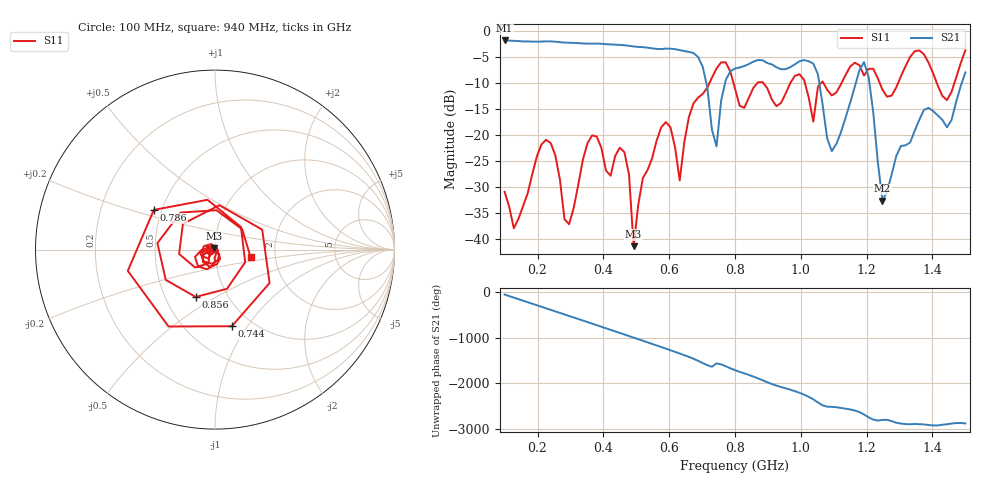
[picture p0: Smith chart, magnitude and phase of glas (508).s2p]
! NanoVNA-App
! Date: 2025-09-25 15:59:26
! Start: 100MHz Stop: 1,5GHz Points: 101
! S-Parameter data: F S11 S21 S12 S22
# Hz S RI R 50
!  Frequency  S11_Real  S11_Imag  S21_Real  S21_Imag  S12_Real  S12_Imag  S22_Real  S22_Imag
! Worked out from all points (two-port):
!   101 points, 100 MHz to 1.5 GHz, reference 50 ohm
!   highest |S21| = -1.80 dB at 100 MHz (marker M1); lowest = -32.6 dB at 1.248 GHz (marker M2)
!   |S21| within 3 dB of the highest: start of sweep to 684.4 MHz
!   lowest |S11| = -41.4 dB at 492 MHz (marker M3), VSWR 1.02, Z = 49.5 + j0.665 ohm
!   |S11| at or under -10 dB: start of sweep to 722.4 MHz; 795.5 MHz to 867.9 MHz (72.42 MHz wide, 8.71 % of centre); 886.1 MHz to 968 MHz (81.85 MHz wide, 8.83 % of centre) (the widest 3 of 7)
!   S12 and S22 are empty: the file has one direction only
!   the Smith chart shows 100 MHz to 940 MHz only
!   S11 on the Smith chart (normalised r, x): 100 MHz: 0.95, -0.01; 744 MHz: 0.81, -0.85; 786 MHz: 0.45, +0.24; 856 MHz: 0.71, -0.41; 940 MHz: 1.49, -0.14
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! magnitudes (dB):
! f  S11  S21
! 100 MHz  -30.9  -1.8
! 128 MHz  -38.0  -1.9
! 226 MHz  -20.9  -2.0
! 296 MHz  -37.2  -2.2
! 338 MHz  -24.7  -2.4
! 464 MHz  -23.3  -2.7
! 492 MHz  -41.4  -3.0
! 576 MHz  -18.5  -3.5
! 632 MHz  -28.7  -3.7
! 702 MHz  -12.1  -6.9
! 744 MHz  -7.2  -22.2
! 786 MHz  -7.8  -7.7
! 800 MHz  -11.0  -7.2
! 856 MHz  -10.9  -5.9
! 940 MHz  -13.8  -7.4
! 996 MHz  -8.3  -5.8
! 1.038 GHz  -17.4  -6.3
! 1.094 GHz  -12.4  -23.1
! 1.192 GHz  -8.6  -6.0
! 1.248 GHz  -11.3  -32.6
! 1.276 GHz  -12.4  -27.6
! 1.5 GHz  -3.7  -7.9
